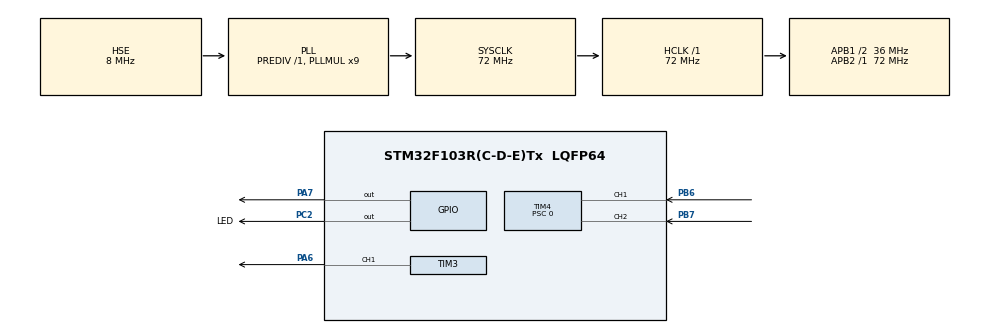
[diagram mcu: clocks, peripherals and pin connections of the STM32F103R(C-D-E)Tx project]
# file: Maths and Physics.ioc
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Mcu.Family=STM32F1
Mcu.Name=STM32F103R(C-D-E)Tx
Mcu.Package=LQFP64
NVIC.PriorityGroup=NVIC_PRIORITYGROUP_4
NVIC.TIM2_IRQn=true\:1\:0\:true\:false\:true\:true\:true\:true
PA13.Mode=Serial_Wire
PA13.Signal=SYS_JTMS-SWDIO
PA14.Mode=Serial_Wire
PA14.Signal=SYS_JTCK-SWCLK
PA6.Signal=S_TIM3_CH1
PA7.Signal=GPIO_Output
PB6.Signal=S_TIM4_CH1
PB7.Signal=S_TIM4_CH2
PC2.GPIO_Label=LED
PC2.Signal=GPIO_Output
PD0-OSC_IN.Mode=HSE-External-Oscillator
PD0-OSC_IN.Signal=RCC_OSC_IN
PD1-OSC_OUT.Mode=HSE-External-Oscillator
PD1-OSC_OUT.Signal=RCC_OSC_OUT
ProjectManager.HeapSize=0x200
ProjectManager.StackSize=0x400
ProjectManager.TargetToolchain=MDK-ARM V5.32
RCC.AHBFreq_Value=72000000
RCC.APB1CLKDivider=RCC_HCLK_DIV2
RCC.APB1Freq_Value=36000000
RCC.APB1TimFreq_Value=72000000
RCC.APB2Freq_Value=72000000
RCC.APB2TimFreq_Value=72000000
RCC.HCLKFreq_Value=72000000
RCC.PLLMUL=RCC_PLL_MUL9
RCC.PLLSourceVirtual=RCC_PLLSOURCE_HSE
RCC.SYSCLKFreq_VALUE=72000000
RCC.SYSCLKSource=RCC_SYSCLKSOURCE_PLLCLK
RCC.USBFreq_Value=72000000
SH.S_TIM3_CH1.0=TIM3_CH1,PWM Generation1 CH1
SH.S_TIM4_CH1.0=TIM4_CH1,Encoder_Interface
SH.S_TIM4_CH2.0=TIM4_CH2,Encoder_Interface
TIM2.Period=1000-1
TIM2.Prescaler=7200
TIM2.TIM_MasterOutputTrigger=TIM_TRGO_RESET
TIM3.Channel-PWM\ Generation1\ CH1=TIM_CHANNEL_1
TIM3.Period=1000-1
TIM3.Prescaler=7200
TIM4.EncoderMode=TIM_ENCODERMODE_TI12
TIM4.Period=65535
TIM4.Prescaler=0
VP_TIM2_VS_ClockSourceINT.Mode=Internal
VP_TIM3_VS_ClockSourceINT.Mode=Internal
board=custom

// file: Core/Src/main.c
/* USER CODE BEGIN Header */
/**
  ******************************************************************************
  * @file           : main.c
  * @brief          : Main program body
  ******************************************************************************
  * @attention
  *
  * Copyright (c) 2023 STMicroelectronics.
  * All rights reserved.
  *
  * This software is licensed under terms that can be found in the LICENSE file
  * in the root directory of this software component.
  * If no LICENSE file comes with this software, it is provided AS-IS.
  *
  ******************************************************************************
  */
/* USER CODE END Header */
#include "main.h"
#include "tim.h"
#include "gpio.h"

void SystemClock_Config(void);

/* USER CODE BEGIN 0 */

struct Motor motor;
pid_struct_t motor_pid;

int target_rpm = 500;

	int r = 0;

int16_t encoder_counter = 0;  //保存编码器计数值
int16_t encoder_direction = 0;  //保存编码器方向

void HAL_TIM_PeriodElapsedCallback(TIM_HandleTypeDef *htim)
{
	if(htim == (&htim2))
	{
		motor.rpm = motor_calc(13, 4, 10, 10);
//		pid_calc(&motor_pid, target_rpm, motor.rpm);
//		__HAL_TIM_SetCompare(&htim3, TIM_CHANNEL_1, motor_pid.output);
	}
}

/* USER CODE END 0 */

int main(void)
{

  /* MCU Configuration--------------------------------------------------------*/

  /* Reset of all peripherals, Initializes the Flash interface and the Systick. */
  HAL_Init();

  /* Configure the system clock */
  SystemClock_Config();

  /* Initialize all configured peripherals */
  MX_GPIO_Init();
  MX_TIM3_Init();
  MX_TIM4_Init();
  MX_TIM2_Init();
  /* USER CODE BEGIN 2 */

	//HAL_TIM_Base_Start(&htim2);
	HAL_TIM_Base_Start_IT(&htim2);
	HAL_TIM_PWM_Start(&htim3,TIM_CHANNEL_1);
	HAL_TIM_Encoder_Start(&htim4,TIM_CHANNEL_1 | TIM_CHANNEL_2);

  /* USER CODE END 2 */

  /* Infinite loop */
  /* USER CODE BEGIN WHILE */

  HAL_GPIO_WritePin(LED_GPIO_Port, LED_Pin, GPIO_PIN_SET);

	pid_init(&motor_pid, 10, 2, 1, 200, 1000);
  while (1)
  {
//		//rpm = 900
//		__HAL_TIM_SetCompare(&htim3, TIM_CHANNEL_1, 200);

//		//rpm = 840
//		__HAL_TIM_SetCompare(&htim3, TIM_CHANNEL_1, 150);

//		//rpm = 650
//		__HAL_TIM_SetCompare(&htim3, TIM_CHANNEL_1, 100);

//		//rpm = 510
//		__HAL_TIM_SetCompare(&htim3, TIM_CHANNEL_1, 80);

			//rpm = 300
			__HAL_TIM_SetCompare(&htim3, TIM_CHANNEL_1, 60);

//			//rpm = 200
//			__HAL_TIM_SetCompare(&htim3, TIM_CHANNEL_1, 50);

//		r = motor_pid.output;
//		__HAL_TIM_SetCompare(&htim3, TIM_CHANNEL_1, motor_pid.output);
//		__HAL_TIM_SetCompare(&htim3, TIM_CHANNEL_1, 500);
//		encoder_counter = (short)__HAL_TIM_GET_COUNTER(&htim4);
//		encoder_direction = __HAL_TIM_IS_TIM_COUNTING_DOWN(&htim4);

		//__HAL_TIM_GET_COUNTER(&htim4) = 0;	//计数器计数值置零
    /* USER CODE END WHILE */

  }
}

void SystemClock_Config(void)
{
  RCC_OscInitTypeDef RCC_OscInitStruct = {0};
  RCC_ClkInitTypeDef RCC_ClkInitStruct = {0};

  /** Initializes the RCC Oscillators according to the specified parameters
  * in the RCC_OscInitTypeDef structure.
  */
  RCC_OscInitStruct.OscillatorType = RCC_OSCILLATORTYPE_HSE;
  RCC_OscInitStruct.HSEState = RCC_HSE_ON;
  RCC_OscInitStruct.HSEPredivValue = RCC_HSE_PREDIV_DIV1;
  RCC_OscInitStruct.HSIState = RCC_HSI_ON;
  RCC_OscInitStruct.PLL.PLLState = RCC_PLL_ON;
  RCC_OscInitStruct.PLL.PLLSource = RCC_PLLSOURCE_HSE;
  RCC_OscInitStruct.PLL.PLLMUL = RCC_PLL_MUL9;
  if (HAL_RCC_OscConfig(&RCC_OscInitStruct) != HAL_OK)
  {
    Error_Handler();
  }

  /** Initializes the CPU, AHB and APB buses clocks
  */
  RCC_ClkInitStruct.ClockType = RCC_CLOCKTYPE_HCLK|RCC_CLOCKTYPE_SYSCLK
                              |RCC_CLOCKTYPE_PCLK1|RCC_CLOCKTYPE_PCLK2;
  RCC_ClkInitStruct.SYSCLKSource = RCC_SYSCLKSOURCE_PLLCLK;
  RCC_ClkInitStruct.AHBCLKDivider = RCC_SYSCLK_DIV1;
  RCC_ClkInitStruct.APB1CLKDivider = RCC_HCLK_DIV2;
  RCC_ClkInitStruct.APB2CLKDivider = RCC_HCLK_DIV1;

  if (HAL_RCC_ClockConfig(&RCC_ClkInitStruct, FLASH_LATENCY_2) != HAL_OK)
  {
    Error_Handler();
  }
}

void Error_Handler(void)
{
  __disable_irq();
  while (1)
  {
  }
}
